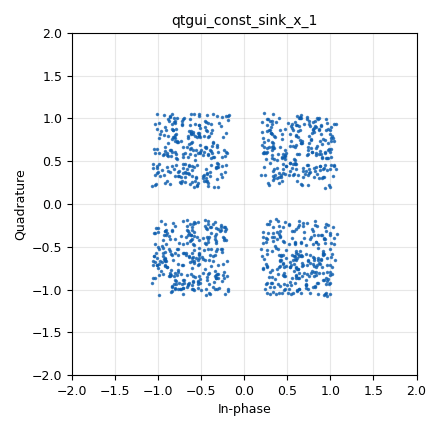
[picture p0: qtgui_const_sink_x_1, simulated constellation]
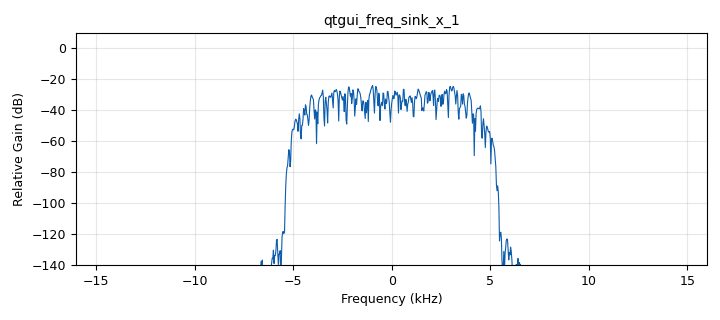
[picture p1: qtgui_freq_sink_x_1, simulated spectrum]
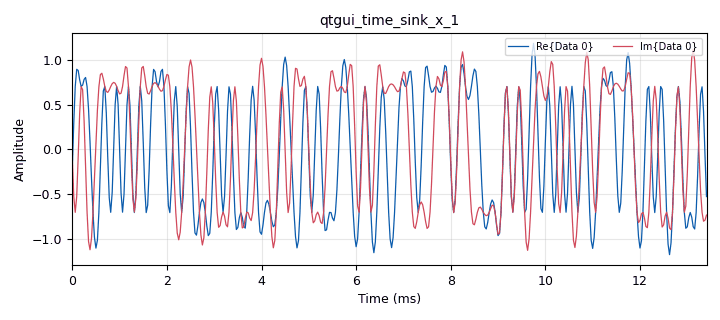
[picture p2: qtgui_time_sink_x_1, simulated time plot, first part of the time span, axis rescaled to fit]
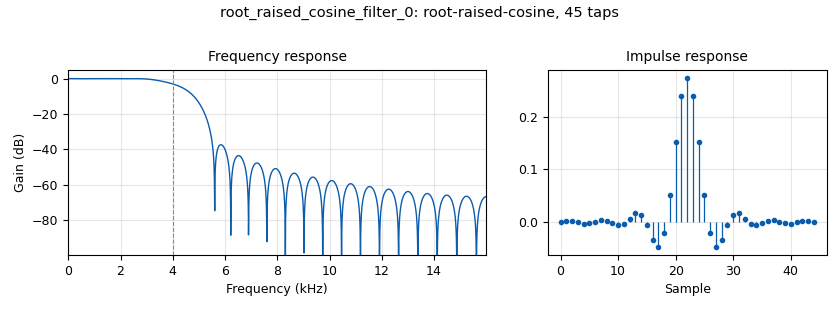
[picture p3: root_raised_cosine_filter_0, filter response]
options:
  parameters:
    author: Gerez
    category: Custom
    comment: https://wiki.gnuradio.org/index.php?title=QPSK_Mod_and_Demod
    generate_options: qt_gui
    id: transmisor
    output_language: python
    title: transmisor
  states: {}

blocks:
- name: excess_bw
  id: variable
  parameters:
    value: '0.35'
  states: {}
- name: freq_offset
  id: variable_qtgui_range
  parameters:
    gui_hint: 0,2,1,1
    label: 'Channel: Frequency Offset'
    start: '-0.1'
    step: '0.001'
    stop: '0.1'
    value: '0.025'
  states: {state: disabled}
- name: qpsk
  id: variable_constellation_rect
  parameters:
    const_points: '[1+1j, -1+1j, -1-1j, 1-1j]'
    imag_sect: '2'
    real_sect: '2'
    rot_sym: '4'
    sym_map: '[0, 1, 2, 3]'
    w_imag_sect: '1'
    w_real_sect: '1'
  states: {}
- name: rrc_taps
  id: variable
  parameters:
    value: |
      firdes.root_raised_cosine(1.0, samp_rate, samp_rate/sps, excess_bw, 11*sps)
  states: {}
- name: samp_rate
  id: variable
  parameters:
    value: '32000'
  states: {}
- name: sps
  id: variable
  parameters:
    value: '4'
  states: {}
- name: time_offset
  id: variable_qtgui_range
  parameters:
    gui_hint: 0,1,1,1
    label: 'Channel: Timing Offset'
    start: '0.999'
    step: '0.0001'
    stop: '1.001'
    value: '1.0005'
  states: {state: disabled}
- name: analog_random_source_x_0
  id: analog_random_source_x
  parameters:
    max: '256'
    min: '0'
    num_samps: '1024'
    repeat: 'True'
    type: byte
  states: {}
- name: blocks_keep_one_in_n_0
  id: blocks_keep_one_in_n
  parameters:
    n: sps
    type: complex
  states: {}
- name: blocks_stream_to_tagged_stream_0
  id: blocks_stream_to_tagged_stream
  parameters:
    comment: segmenta en paquetes etiquetados.
    len_tag_key: '"packet_len"'
    packet_len: '128'
    type: byte
  states: {}
- name: blocks_throttle2_0
  id: blocks_throttle2
  parameters:
    samples_per_second: samp_rate
    type: complex
  states: {state: disabled}
- name: channels_channel_model_0
  id: channels_channel_model
  parameters:
    comment: Epsilon is the time offset
    epsilon: time_offset
    freq_offset: frec_offset
    noise_voltage: noise_volt
    seed: '0'
    taps: '1'
  states: {state: disabled}
- name: digital_constellation_modulator_0
  id: digital_constellation_modulator
  parameters:
    constellation: qpsk
    differential: 'True'
    excess_bw: excess_bw
    samples_per_symbol: sps
  states: {}
- name: digital_crc32_bb_0
  id: digital_crc32_bb
  parameters:
    check: 'False'
    comment: |-
      agrega CRC basado en la longitud 
      de los paquetes etiquetados.
    lengthtagname: '"packet_len"'
    packed: 'True'
  states: {}
- name: qtgui_const_sink_x_0
  id: qtgui_const_sink_x
  parameters:
    gui_hint: 1,2,1,2
    name: ''
    size: '1024'
    type: complex
  states: {state: disabled}
- name: qtgui_const_sink_x_1
  id: qtgui_const_sink_x
  parameters:
    size: '1024'
    type: complex
  states: {}
- name: qtgui_freq_sink_x_0
  id: qtgui_freq_sink_x
  parameters:
    bw: samp_rate
    fc: '0'
    fftsize: '1024'
    gui_hint: 2,0,1,4
    name: ''
    showports: 'True'
    type: complex
    width1: '2'
  states: {state: disabled}
- name: qtgui_freq_sink_x_1
  id: qtgui_freq_sink_x
  parameters:
    bw: samp_rate
    fc: '0'
    fftsize: '1024'
    type: complex
  states: {}
- name: qtgui_time_sink_x_0
  id: qtgui_time_sink_x
  parameters:
    gui_hint: 1,0,1,2
    label1: ''
    label2: ''
    name: ''
    size: '200'
    srate: samp_rate
    type: complex
    ymax: '2'
    ymin: '-2'
  states: {state: disabled}
- name: qtgui_time_sink_x_1
  id: qtgui_time_sink_x
  parameters:
    size: '1024'
    srate: samp_rate
    type: complex
  states: {}
- name: root_raised_cosine_filter_0
  id: root_raised_cosine_filter
  parameters:
    alpha: excess_bw
    gain: '1'
    interp: '1'
    ntaps: 11 * sps
    samp_rate: samp_rate
    sym_rate: samp_rate/sps
    type: interp_fir_filter_ccf
  states: {}

connections:
- [analog_random_source_x_0, '0', blocks_stream_to_tagged_stream_0, '0']
- [blocks_keep_one_in_n_0, '0', qtgui_const_sink_x_1, '0']
- [blocks_stream_to_tagged_stream_0, '0', digital_crc32_bb_0, '0']
- [blocks_throttle2_0, '0', qtgui_const_sink_x_0, '0']
- [blocks_throttle2_0, '0', qtgui_freq_sink_x_0, '0']
- [blocks_throttle2_0, '0', qtgui_time_sink_x_0, '0']
- [digital_constellation_modulator_0, '0', root_raised_cosine_filter_0, '0']
- [digital_crc32_bb_0, '0', digital_constellation_modulator_0, '0']
- [root_raised_cosine_filter_0, '0', blocks_keep_one_in_n_0, '0']
- [root_raised_cosine_filter_0, '0', qtgui_freq_sink_x_1, '0']
- [root_raised_cosine_filter_0, '0', qtgui_time_sink_x_1, '0']

metadata:
  file_format: 1
  grc_version: 3.10.10.0
